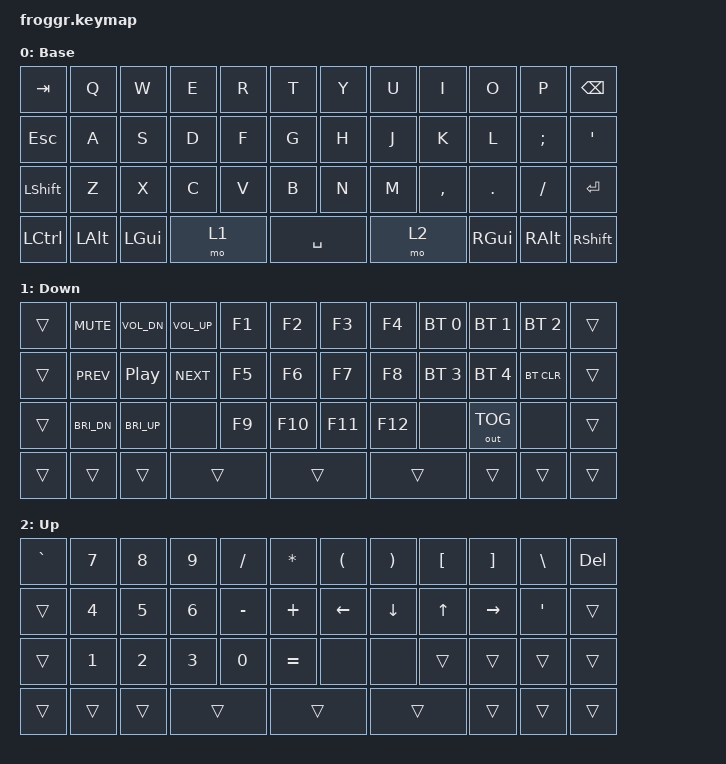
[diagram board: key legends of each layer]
#include <behaviors.dtsi>
#include <dt-bindings/zmk/keys.h>
#include <dt-bindings/zmk/bt.h>
#include <dt-bindings/zmk/outputs.h>

/ {
    behaviors {
        // Hold ~3 s to fire the destructive action; a quick press/release does nothing.
        boot_hold: boot_hold {
            compatible = "zmk,behavior-hold-tap";
            #binding-cells = <2>;
            flavor = "tap-preferred";
            tapping-term-ms = <3000>;
            bindings = <&bootloader>, <&none>;
        };
        reset_hold: reset_hold {
            compatible = "zmk,behavior-hold-tap";
            #binding-cells = <2>;
            flavor = "tap-preferred";
            tapping-term-ms = <3000>;
            bindings = <&sys_reset>, <&none>;
        };
    };

    keymap {
        compatible = "zmk,keymap";

        default_layer {
            display-name = "Base";
            bindings = <
                &kp TAB   &kp Q     &kp W     &kp E   &kp R      &kp T   &kp Y     &kp U     &kp I     &kp O    &kp P    &kp BSPC
                &kp ESC   &kp A     &kp S     &kp D   &kp F      &kp G   &kp H     &kp J     &kp K     &kp L    &kp SEMI &kp APOS
                &kp LSHFT &kp Z     &kp X     &kp C   &kp V      &kp B   &kp N     &kp M     &kp COMMA &kp DOT  &kp FSLH &kp RET
                &kp LCTL  &kp LALT  &kp LGUI  &mo 1  &kp SPACE  &mo 2   &kp RGUI  &kp RALT  &kp RSHFT
            >;
        };

        down_layer {
            display-name = "Down";
            bindings = <
                &trans &kp C_MUTE   &kp C_VOL_DN &kp C_VOL_UP &kp F1 &kp F2  &kp F3  &kp F4  &bt BT_SEL 0 &bt BT_SEL 1 &bt BT_SEL 2 &trans
                &trans &kp C_PREV   &kp C_PP     &kp C_NEXT   &kp F5 &kp F6  &kp F7  &kp F8  &bt BT_SEL 3 &bt BT_SEL 4 &bt BT_CLR   &trans
                &trans &kp C_BRI_DN &kp C_BRI_UP &none        &kp F9 &kp F10 &kp F11 &kp F12 &none        &out OUT_TOG &none        &trans
                &trans &trans       &trans       &trans       &trans &trans  &trans &trans &trans
            >;
        };

        up_layer {
            display-name = "Up";
            bindings = <
                &kp GRAVE &kp N7 &kp N8 &kp N9 &kp SLASH &kp ASTERISK   &kp LPAR &kp RPAR &kp LBKT &kp RBKT  &kp BSLH &kp DEL
                &trans    &kp N4 &kp N5 &kp N6 &kp MINUS &kp PLUS       &kp LEFT &kp DOWN &kp UP   &kp RIGHT &kp APOS &trans
                &trans    &kp N1 &kp N2 &kp N3 &kp N0    &kp EQUAL      &none    &none    &trans   &trans    &trans   &trans
                &trans    &trans &trans &trans &trans    &trans         &trans   &trans   &trans
            >;
        };
    };

    combos {
        compatible = "zmk,combos";

        // Q + W + E together unlocks ZMK Studio (base layer only)
        combo_studio_unlock {
            timeout-ms = <50>;
            key-positions = <1 2 3>;
            bindings = <&studio_unlock>;
            layers = <0>;
        };

        // F6 + F10 together then keep holding ~3s enables bootloader (Down layer only)
        combo_bootloader {
            timeout-ms = <50>;
            key-positions = <17 29>;
            bindings = <&boot_hold 0 0>;
            layers = <1>;
        };

        // F7 + F11 together, then keep holding ~3s enables reset (Down layer only)
        combo_reset {
            timeout-ms = <50>;
            key-positions = <18 30>;
            bindings = <&reset_hold 0 0>;
            layers = <1>;
        };
    };
};
